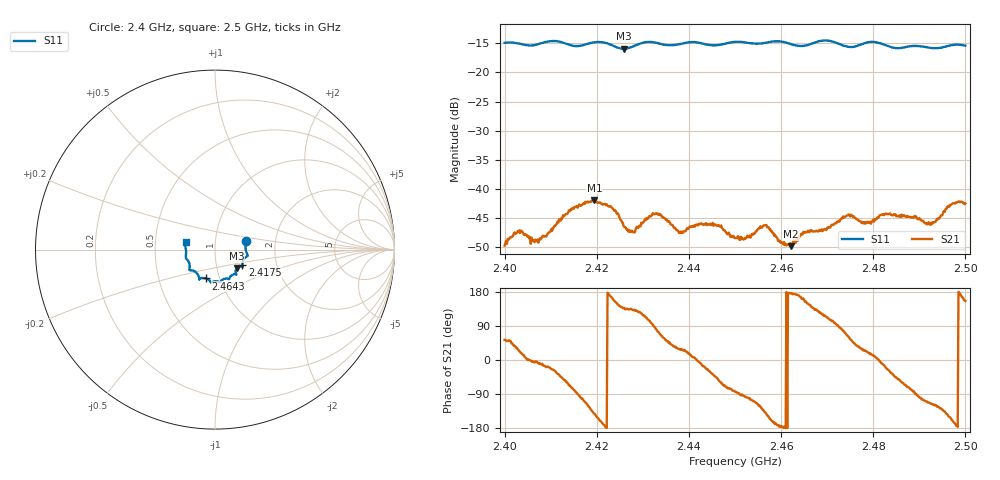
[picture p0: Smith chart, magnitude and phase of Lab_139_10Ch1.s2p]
# Hz S RI R 50
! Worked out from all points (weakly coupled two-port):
!   601 points, 2.4 GHz to 2.5 GHz, reference 50 ohm
!   highest |S21| = -41.93 dB at 2.4195 GHz (marker M1); lowest = -49.9 dB at 2.4622 GHz (marker M2)
!   lowest |S11| = -15.9 dB at 2.4258 GHz (marker M3), VSWR 1.38, Z = 62.3 - j13.2 ohm
!   |S11| at or under -10 dB: start of sweep to end of sweep
!   S12 and S22 are empty: the file has one direction only
!   S11 on the Smith chart (normalised r, x): 2.4 GHz: 1.41, +0.14; 2.4175 GHz: 1.34, -0.23; 2.4643 GHz: 0.86, -0.29; 2.5 GHz: 0.72, +0.06
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2.4e9  0.1729 0.0487  0.00195 0.0026  0 0  0 0
2.403333e9  0.1735 0.0316  0.00386 0.00155  0 0  0 0
2.407333e9  0.1744 -0.0139  0.00341 -0.000484  0 0  0 0
2.416667e9  0.1532 -0.0739  -0.00144 -0.00703  0 0  0 0
2.4175e9  0.1522 -0.0835  -0.00286 -0.00719  0 0  0 0
2.4195e9  0.1535 -0.097  -0.00631 -0.00493  0 0  0 0
2.4235e9  0.1414 -0.0943  -0.00635 0.00224  0 0  0 0
2.425833e9  0.1216 -0.1033  -0.00347 0.00327  0 0  0 0
2.427833e9  0.1143 -0.1214  -0.00282 0.00317  0 0  0 0
2.433333e9  0.1133 -0.1371  0.00165 0.00575  0 0  0 0
2.438167e9  0.0821 -0.1553  0.00381 0.00196  0 0  0 0
2.445167e9  0.0544 -0.1619  0.00403 -0.00312  0 0  0 0
2.45e9  0.0289 -0.1808  0.000412 -0.00375  0 0  0 0
2.4565e9  -0.00977 -0.1791  -0.0036 -0.00327  0 0  0 0
2.462167e9  -0.0312 -0.1721  -0.00321 0.000225  0 0  0 0
2.464333e9  -0.0499 -0.161  -0.00391 0.00102  0 0  0 0
2.466667e9  -0.076 -0.1594  -0.00336 0.00283  0 0  0 0
2.474667e9  -0.1028 -0.1296  0.00295 0.00525  0 0  0 0
2.478e9  -0.1352 -0.1154  0.00456 0.00212  0 0  0 0
2.483333e9  -0.1411 -0.0901  0.00542 -0.00273  0 0  0 0
2.492667e9  -0.161 -0.0182  -0.0022 -0.00464  0 0  0 0
2.5e9  -0.164 0.043  -0.00683 0.00301  0 0  0 0
